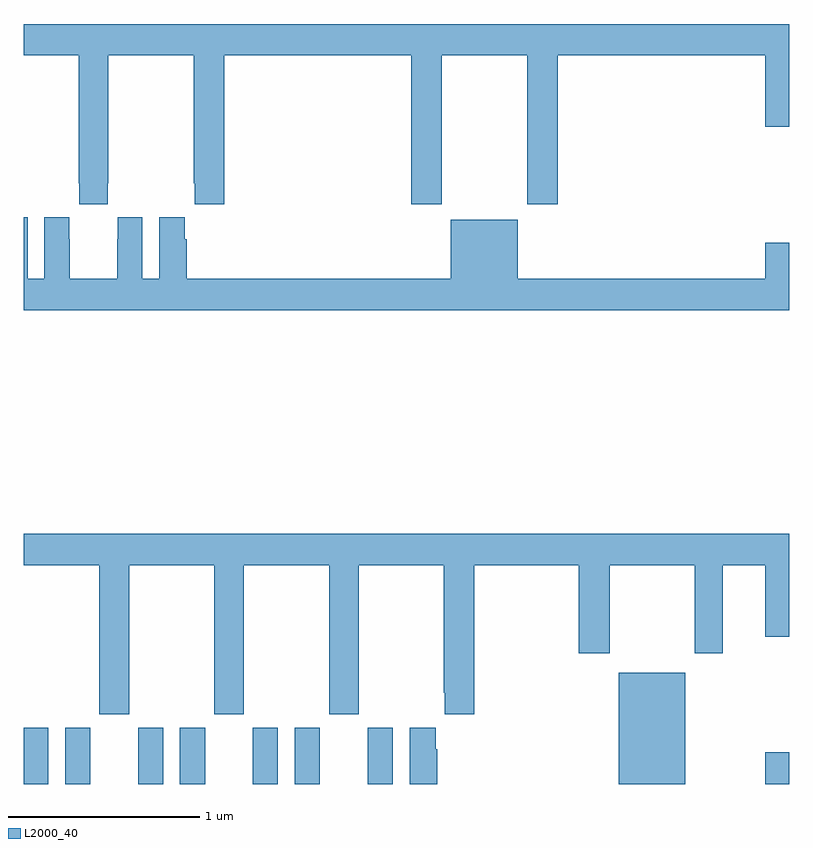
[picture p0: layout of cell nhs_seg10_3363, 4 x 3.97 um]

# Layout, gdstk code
import gdstk
lib = gdstk.Library(unit=1e-6, precision=1e-09)
def R(c, l, rs):  # rectangles x0, y0, x1, y1
    for r in rs: c.add(gdstk.rectangle(r[:2], r[2:], *l))
def P(c, l, *ps):  # polygons
    for p in ps: c.add(gdstk.Polygon(p, *l))
L2000_40 = (2000, 40)

nhs_seg10_3363 = lib.new_cell('nhs_seg10_3363')
R(nhs_seg10_3363, L2000_40, [(293,1304.5,293.128,1304.794), (293.216,1304.5,293.347,1304.794), (293.597,1304.5,293.728,1304.794), (293.816,1304.5,293.947,1304.794), (294.197,1304.5,294.328,1304.794), (294.416,1304.5,294.547,1304.794), (294.797,1304.5,294.928,1304.794), (296.108,1304.5,296.458,1305.082), (296.876,1304.5,297,1304.665)])
P(nhs_seg10_3363, L2000_40, [(293.439,1307.641),(293.442,1307.641),(293.442,1308.308),(293.887,1308.308),(293.887,1307.641),(293.893,1307.641),(293.893,1307.529),(294.047,1307.529),(294.047,1308.308),(295.025,1308.308),(295.025,1307.529),(295.185,1307.529),(295.185,1308.308),(295.63,1308.308),(295.63,1307.529),(295.79,1307.529),(295.79,1308.308),(296.876,1308.308),(296.876,1307.934),(297,1307.934),(297,1308.472),(293,1308.472),(293,1308.308),(293.287,1308.308),(293.287,1307.641),(293.289,1307.641),(293.289,1307.529),(293.439,1307.529)],
  [(297,1307.329),(296.876,1307.329),(296.876,1307.14),(295.582,1307.14),(295.582,1307.449),(295.232,1307.449),(295.232,1307.14),(293.852,1307.14),(293.852,1307.348),(293.842,1307.348),(293.842,1307.461),(293.708,1307.461),(293.708,1307.14),(293.62,1307.14),(293.62,1307.461),(293.49,1307.461),(293.49,1307.348),(293.489,1307.348),(293.489,1307.14),(293.239,1307.14),(293.239,1307.348),(293.238,1307.348),(293.238,1307.461),(293.108,1307.461),(293.108,1307.14),(293.02,1307.14),(293.02,1307.461),(293,1307.461),(293,1306.976),(297,1306.976)],
  [(293.55,1305.644),(293.995,1305.644),(293.995,1304.865),(294.15,1304.865),(294.15,1305.644),(294.595,1305.644),(294.595,1304.865),(294.75,1304.865),(294.75,1305.644),(295.195,1305.644),(295.195,1304.977),(295.199,1304.977),(295.199,1304.865),(295.355,1304.865),(295.355,1305.644),(295.901,1305.644),(295.901,1305.183),(296.061,1305.183),(296.061,1305.644),(296.506,1305.644),(296.506,1305.183),(296.653,1305.183),(296.653,1305.644),(296.876,1305.644),(296.876,1305.27),(297,1305.27),(297,1305.808),(293,1305.808),(293,1305.644),(293.395,1305.644),(293.395,1304.865),(293.55,1304.865)],
  [(295.16,1304.681),(295.153,1304.681),(295.153,1304.794),(295.016,1304.794),(295.016,1304.5),(295.16,1304.5)])

lib.write_gds('nhs_seg10_3363.gds')
